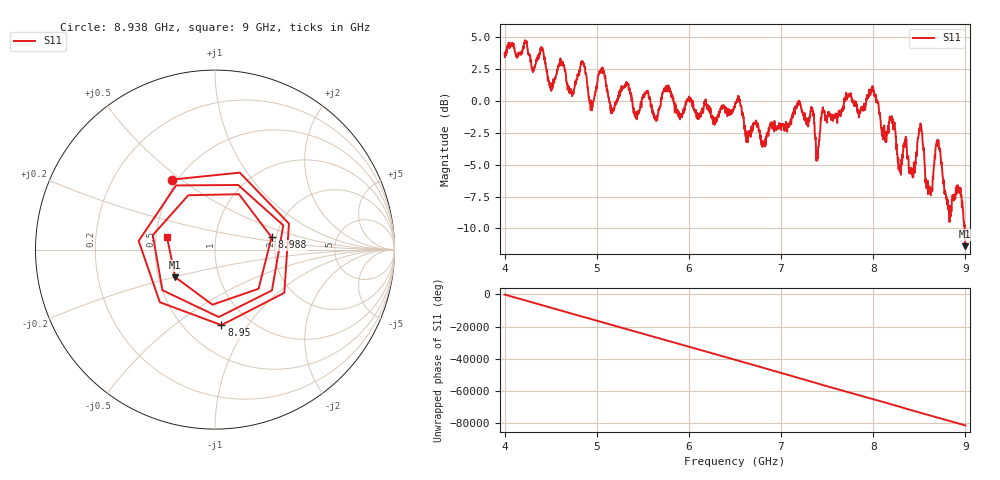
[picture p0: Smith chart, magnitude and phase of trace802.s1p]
! Created with skrf 1.8.0 (http://scikit-rf.org).
# Hz S RI R 50.0
!freq ReS11 ImS11
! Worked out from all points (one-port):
!   1601 points, 4 GHz to 9 GHz, reference 50 ohm
!   lowest |S11| = -11.4 dB at 8.997 GHz (marker M1), VSWR 1.74, Z = 30.6 - j10.1 ohm
!   |S11| at or under -10 dB: 8.99259 GHz to end of sweep
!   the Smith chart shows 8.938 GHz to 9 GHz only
!   S11 on the Smith chart (normalised r, x): 8.938 GHz: 0.47, +0.46; 8.95 GHz: 0.74, -0.76; 8.988 GHz: 1.89, +0.29; 9 GHz: 0.57, +0.08
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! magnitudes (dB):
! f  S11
! 4 GHz  3.7
! 4.625 GHz  3.1
! 4.725 GHz  0.7
! 4.85 GHz  3.1
! 4.944 GHz  -0.1
! 5.053 GHz  2.3
! 5.162 GHz  -0.6
! 5.25 GHz  0.4
! 5.875 GHz  -0.7
! 6.5 GHz  -0.5
! 6.809 GHz  -3.3
! 7.125 GHz  -1.3
! 7.338 GHz  -0.6
! 7.394 GHz  -4.7
! 7.456 GHz  -0.7
! 7.75 GHz  0.3
! 8.003 GHz  0.9
! 8.375 GHz  -4.3
! 8.434 GHz  -6.0
! 8.509 GHz  -2.3
! 8.603 GHz  -7.0
! 8.7 GHz  -3.1
! 8.825 GHz  -8.8
! 8.938 GHz  -6.8
! 8.95 GHz  -7.5
! 8.988 GHz  -9.8
! 8.997 GHz  -11.4
! 9 GHz  -11.2
